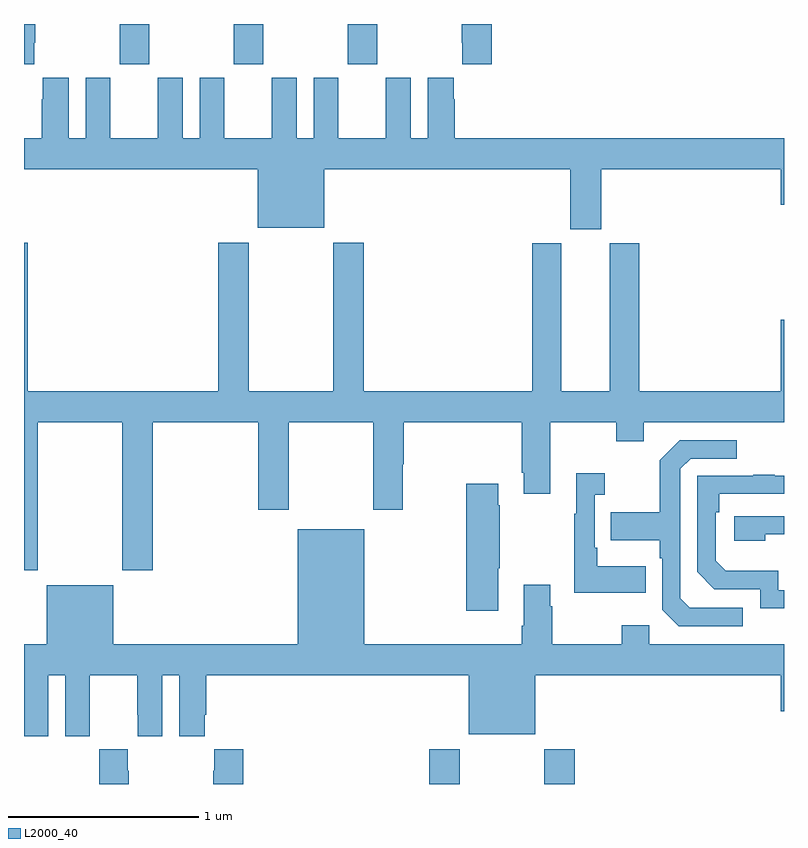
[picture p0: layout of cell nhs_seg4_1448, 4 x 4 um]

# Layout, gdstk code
import gdstk
lib = gdstk.Library(unit=1e-6, precision=1e-09)
def R(c, l, rs):  # rectangles x0, y0, x1, y1
    for r in rs: c.add(gdstk.rectangle(r[:2], r[2:], *l))
def A(c, l, x, y, w, h, nx, ny, dx, dy):  # array of equal rectangles
    R(c, l, [(x+i*dx, y+j*dy, x+i*dx+w, y+j*dy+h) for i in range(nx) for j in range(ny)])
def P(c, l, *ps):  # polygons
    for p in ps: c.add(gdstk.Polygon(p, *l))
L2000_40 = (2000, 40)

nhs_seg4_1448 = lib.new_cell('nhs_seg4_1448')
A(nhs_seg4_1448, L2000_40, 185.503, 814.689, 0.155, 0.211, 3, 1, 0.6, 0)
R(nhs_seg4_1448, L2000_40, [(187.133,810.9,187.293,811.084), (187.738,810.9,187.898,811.084)])
P(nhs_seg4_1448, L2000_40, [(187.463,814.9),(187.303,814.9),(187.303,814.801),(187.307,814.801),(187.307,814.689),(187.463,814.689)],
  [(185.053,814.801),(185.058,814.801),(185.058,814.9),(185,814.9),(185,814.689),(185.053,814.689)],
  [(188.038,814.136),(188.984,814.136),(188.984,813.948),(189,813.948),(189,814.3),(187.268,814.3),(187.268,814.505),(187.261,814.505),(187.261,814.618),(187.124,814.618),(187.124,814.3),(187.036,814.3),(187.036,814.618),(186.905,814.618),(186.905,814.3),(186.655,814.3),(186.655,814.618),(186.524,814.618),(186.524,814.3),(186.436,814.3),(186.436,814.618),(186.305,814.618),(186.305,814.3),(186.055,814.3),(186.055,814.618),(185.924,814.618),(185.924,814.3),(185.836,814.3),(185.836,814.618),(185.705,814.618),(185.705,814.3),(185.455,814.3),(185.455,814.618),(185.324,814.618),(185.324,814.3),(185.236,814.3),(185.236,814.618),(185.099,814.618),(185.099,814.505),(185.093,814.505),(185.093,814.3),(185,814.3),(185,814.136),(186.23,814.136),(186.23,813.827),(186.58,813.827),(186.58,814.136),(187.874,814.136),(187.874,813.819),(188.038,813.819)],
  [(185.073,812.804),(185.518,812.804),(185.518,812.025),(185.678,812.025),(185.678,812.804),(186.233,812.804),(186.233,812.343),(186.393,812.343),(186.393,812.804),(186.838,812.804),(186.838,812.343),(186.993,812.343),(186.993,812.582),(186.998,812.582),(186.998,812.804),(187.619,812.804),(187.619,812.539),(187.631,812.539),(187.631,812.427),(187.771,812.427),(187.771,812.804),(188.116,812.804),(188.116,812.705),(188.263,812.705),(188.263,812.804),(189,812.804),(189,813.343),(188.984,813.343),(188.984,812.968),(188.237,812.968),(188.237,813.747),(188.084,813.747),(188.084,812.968),(187.828,812.968),(187.828,813.747),(187.676,813.747),(187.676,812.968),(186.788,812.968),(186.788,813.748),(186.628,813.748),(186.628,812.968),(186.183,812.968),(186.183,813.748),(186.023,813.748),(186.023,812.968),(185.021,812.968),(185.021,813.748),(185,813.748),(185,812.025),(185.073,812.025)],
  [(188.782,811.827),(188.505,811.827),(188.454,811.878),(188.454,812.559),(188.508,812.613),(188.752,812.613),(188.752,812.709),(188.451,812.709),(188.346,812.603),(188.346,812.331),(188.089,812.331),(188.089,812.183),(188.346,812.183),(188.346,812.087),(188.358,812.087),(188.358,811.818),(188.445,811.731),(188.782,811.731)],
  [(188.273,812.047),(188.017,812.047),(188.017,812.143),(188.004,812.143),(188.004,812.423),(188.056,812.423),(188.056,812.536),(187.907,812.536),(187.907,812.323),(187.896,812.323),(187.896,811.907),(188.273,811.907)],
  [(189,811.92),(188.97,811.92),(188.97,812.023),(188.693,812.023),(188.64,812.076),(188.64,812.33),(188.66,812.33),(188.66,812.427),(189,812.427),(189,812.523),(188.951,812.523),(188.951,812.528),(188.839,812.528),(188.839,812.523),(188.544,812.523),(188.544,812.016),(188.634,811.926),(188.874,811.926),(188.874,811.824),(189,811.824)],
  [(187.495,812.035),(187.503,812.035),(187.503,812.366),(187.495,812.366),(187.495,812.479),(187.328,812.479),(187.328,811.812),(187.495,811.812)],
  [(188.9,812.214),(189,812.214),(189,812.31),(188.739,812.31),(188.739,812.18),(188.9,812.18)],
  [(185.128,811.472),(185.216,811.472),(185.216,811.152),(185.346,811.152),(185.346,811.264),(185.347,811.264),(185.347,811.472),(185.597,811.472),(185.597,811.264),(185.598,811.264),(185.598,811.152),(185.728,811.152),(185.728,811.472),(185.816,811.472),(185.816,811.152),(185.95,811.152),(185.95,811.264),(185.96,811.264),(185.96,811.472),(187.34,811.472),(187.34,811.163),(187.69,811.163),(187.69,811.472),(188.984,811.472),(188.984,811.284),(189,811.284),(189,811.636),(188.292,811.636),(188.292,811.735),(188.146,811.735),(188.146,811.636),(187.779,811.636),(187.779,811.835),(187.771,811.835),(187.771,811.948),(187.631,811.948),(187.631,811.732),(187.619,811.732),(187.619,811.636),(186.79,811.636),(186.79,812.242),(186.44,812.242),(186.44,811.636),(185.47,811.636),(185.47,811.945),(185.12,811.945),(185.12,811.636),(185,811.636),(185,811.152),(185.128,811.152)],
  [(185.55,810.971),(185.547,810.971),(185.547,811.084),(185.397,811.084),(185.397,810.971),(185.395,810.971),(185.395,810.9),(185.55,810.9)],
  [(186.155,811.084),(186.001,811.084),(186.001,810.971),(185.995,810.971),(185.995,810.9),(186.155,810.9)])

lib.write_gds('nhs_seg4_1448.gds')
